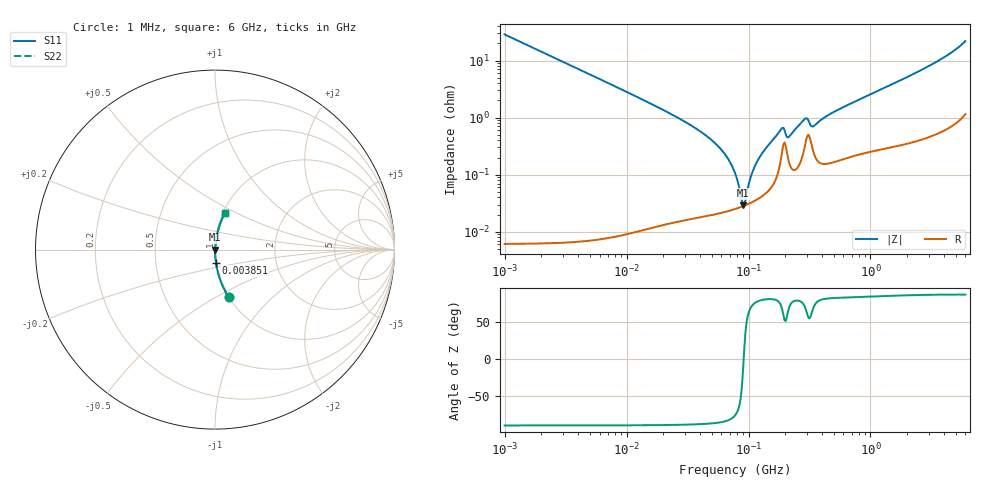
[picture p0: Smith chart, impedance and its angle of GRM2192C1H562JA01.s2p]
!Murata Part Number: GRM2192C1H562JA01
!These Parameters are Measured in Series Mode Connection
!Data Generated on Mar 30, 2021
!  o--ll--o
!Port1  Port2
!  o------o
!Operation Temp=25[degC], DC Bias Voltage=0[V]
!Freq. Start=1000[kHz] Stop=6[GHz] 401[Steps]
# Hz S RI R 50
!Freq.(Hz) S11(Real) S11(Imag) S21(Real) S21(Imag) S12(Real) S12(Imag) S22(Real) S22(Imag)
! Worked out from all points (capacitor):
!   401 points, 1 MHz to 6 GHz, reference 50 ohm
!   read as one part in series: C = 5.54 nF near 1.044 MHz
!   lowest |Z| = 29 mohm at 90.2 MHz (marker M1)
!   series resonance near 91.27 MHz, so ESL is about 550 pH
!   S11 on the Smith chart (normalised r, x): 1 MHz: 1.00, -0.57; 3.851 MHz: 1.00, -0.15; 6 GHz: 1.02, +0.44
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1000000  0.0762 -0.2653  0.9238 0.2653  0.9238 0.2653  0.0762 -0.2653
3851354  0.00557 -0.074  0.9944 0.074  0.9944 0.074  0.00557 -0.074
4293785  0.0045 -0.0664  0.9955 0.0664  0.9955 0.0664  0.0045 -0.0664
1.843659e7  0.000347 -0.0149  0.9997 0.0149  0.9997 0.0149  0.000347 -0.0149
3.389622e7  0.00022 -0.00728  0.9998 0.00728  0.9998 0.00728  0.00022 -0.00728
5.013812e7  0.000212 -0.00399  0.9998 0.00399  0.9998 0.00399  0.000212 -0.00399
6.508975e7  0.000229 -0.00217  0.9998 0.00217  0.9998 0.00217  0.000229 -0.00217
7.745967e7  0.000251 -0.00104  0.9997 0.00104  0.9997 0.00104  0.000251 -0.00104
8.825674e7  0.000276 -0.000213  0.9997 0.000213  0.9997 0.000213  0.000276 -0.000213
9.019724e7  0.000281 -7.46e-05  0.9997 7.46e-05  0.9997 7.46e-05  0.000281 -7.46e-05
9.420718e7  0.000291 0.000202  0.9997 -0.000202  0.9997 -0.000202  0.000291 0.000202
1.050294e8  0.000324 0.000904  0.9997 -0.000904  0.9997 -0.000904  0.000324 0.000904
1.170949e8  0.000369 0.00163  0.9996 -0.00163  0.9996 -0.00163  0.000369 0.00163
1.809028e8  0.00153 0.00567  0.9985 -0.00567  0.9985 -0.00567  0.00153 0.00567
1.889453e8  0.00263 0.00604  0.9974 -0.00604  0.9974 -0.00604  0.00263 0.00604
2.152823e8  0.00163 0.00435  0.9984 -0.00435  0.9984 -0.00435  0.00163 0.00435
2.919064e8  0.00349 0.00891  0.9965 -0.00891  0.9965 -0.00891  0.00349 0.00891
3.325952e8  0.00304 0.00625  0.997 -0.00625  0.997 -0.00625  0.00304 0.00625
5.366786e8  0.00191 0.0134  0.9981 -0.0134  0.9981 -0.0134  0.00191 0.0134
1.428092e9  0.00427 0.0361  0.9957 -0.0361  0.9957 -0.0361  0.00427 0.0361
3.5601e9  0.0146 0.0961  0.9854 -0.0961  0.9854 -0.0961  0.0146 0.0961
6e9  0.0561 0.2052  0.9439 -0.2052  0.9439 -0.2052  0.0561 0.2052
